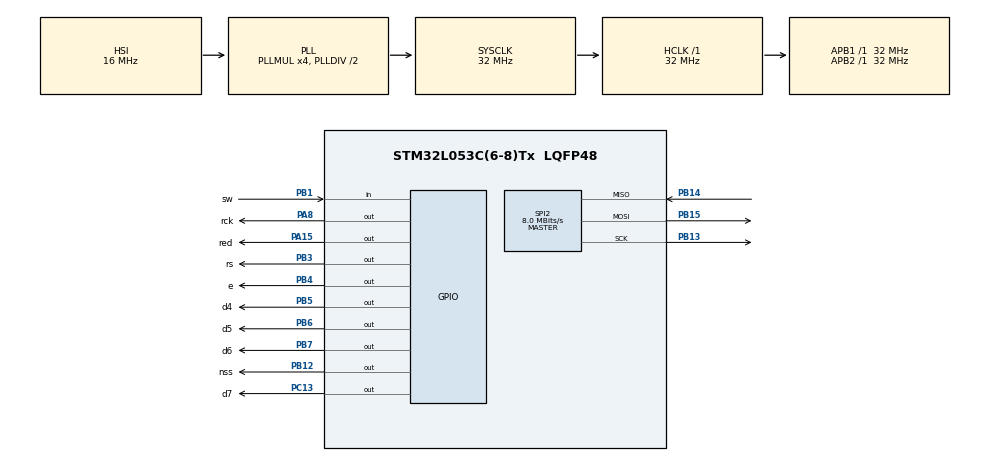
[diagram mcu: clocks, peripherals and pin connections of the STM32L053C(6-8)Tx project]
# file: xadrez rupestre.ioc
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Mcu.Family=STM32L0
Mcu.Name=STM32L053C(6-8)Tx
Mcu.Package=LQFP48
NVIC.TIM6_DAC_IRQn=true\:0\:0\:false\:false\:true\:true\:true\:true
PA13.Mode=Serial_Wire
PA13.Signal=SYS_SWDIO
PA14.Mode=Serial_Wire
PA14.Signal=SYS_SWCLK
PA15.GPIO_Label=red
PA15.GPIO_Speed=GPIO_SPEED_FREQ_VERY_HIGH
PA15.Signal=GPIO_Output
PA8.GPIO_Label=rck
PA8.GPIO_Speed=GPIO_SPEED_FREQ_VERY_HIGH
PA8.Signal=GPIO_Output
PB1.GPIO_Label=sw
PB1.GPIO_PuPd=GPIO_PULLUP
PB1.Signal=GPIO_Input
PB12.GPIO_Label=nss
PB12.GPIO_Speed=GPIO_SPEED_FREQ_VERY_HIGH
PB12.PinState=GPIO_PIN_SET
PB12.Signal=GPIO_Output
PB13.Mode=Full_Duplex_Master
PB13.Signal=SPI2_SCK
PB14.Mode=Full_Duplex_Master
PB14.Signal=SPI2_MISO
PB15.Mode=Full_Duplex_Master
PB15.Signal=SPI2_MOSI
PB3.GPIO_Label=rs
PB3.GPIO_Speed=GPIO_SPEED_FREQ_VERY_HIGH
PB3.Signal=GPIO_Output
PB4.GPIO_Label=e
PB4.GPIO_Speed=GPIO_SPEED_FREQ_VERY_HIGH
PB4.Signal=GPIO_Output
PB5.GPIO_Label=d4
PB5.GPIO_Speed=GPIO_SPEED_FREQ_VERY_HIGH
PB5.Signal=GPIO_Output
PB6.GPIO_Label=d5
PB6.GPIO_Speed=GPIO_SPEED_FREQ_VERY_HIGH
PB6.Signal=GPIO_Output
PB7.GPIO_Label=d6
PB7.GPIO_Speed=GPIO_SPEED_FREQ_VERY_HIGH
PB7.Signal=GPIO_Output
PC13.GPIO_Label=d7
PC13.Signal=GPIO_Output
ProjectManager.HeapSize=0x200
ProjectManager.StackSize=0x400
ProjectManager.TargetToolchain=MDK-ARM V5.32
RCC.AHBFreq_Value=32000000
RCC.APB1Freq_Value=32000000
RCC.APB1TimFreq_Value=32000000
RCC.APB2Freq_Value=32000000
RCC.APB2TimFreq_Value=32000000
RCC.HCLKFreq_Value=32000000
RCC.HSE_VALUE=8000000
RCC.HSI16_VALUE=16000000
RCC.HSI48_VALUE=48000000
RCC.HSI_VALUE=16000000
RCC.LSE_VALUE=32768
RCC.MSI_VALUE=2097000
RCC.PLLMUL=RCC_PLLMUL_4
RCC.SYSCLKFreq_VALUE=32000000
RCC.SYSCLKSource=RCC_SYSCLKSOURCE_PLLCLK
RCC.VCOOutputFreq_Value=64000000
SPI2.BaudRatePrescaler=SPI_BAUDRATEPRESCALER_4
SPI2.CalculateBaudRate=8.0 MBits/s
SPI2.Direction=SPI_DIRECTION_2LINES
SPI2.FirstBit=SPI_FIRSTBIT_MSB
SPI2.Mode=SPI_MODE_MASTER
SPI2.VirtualType=VM_MASTER
TIM2.Period=0xffff-1
TIM2.Prescaler=31
TIM6.Period=999
TIM6.Prescaler=31
VP_TIM2_VS_ClockSourceINT.Mode=Internal
VP_TIM6_VS_ClockSourceINT.Mode=Enable_Timer
board=custom

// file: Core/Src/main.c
/* USER CODE BEGIN Header */
/**
  ******************************************************************************
  * @file           : main.c
  * @brief          : Main program body
  ******************************************************************************
  * @attention
  *
  * Copyright (c) 2023 STMicroelectronics.
  * All rights reserved.
  *
  * This software is licensed under terms that can be found in the LICENSE file
  * in the root directory of this software component.
  * If no LICENSE file comes with this software, it is provided AS-IS.
  *
  ******************************************************************************
  */
/* USER CODE END Header */
#include "main.h"
#include "spi.h"
#include "tim.h"
#include "gpio.h"

/* USER CODE BEGIN Includes */

#include "stdlib.h"
#include "stdio.h"
#include "String.h"

#define write(x, y) HAL_GPIO_WritePin(x##_GPIO_Port, x##_Pin, y)
#define read(x) HAL_GPIO_ReadPin(x##_GPIO_Port, x##_Pin)

#define NULL 0

//TELAS

uint8_t set, task, dbc;

uint8_t buff[32];

//geral e display

void delay_us (uint16_t us) {
	TIM2->CNT = 0;  // set the counter value a 0
	while (TIM2->CNT < us);  // wait for the counter to reach the us input in the parameter
}

void lcd_write(uint8_t data, uint8_t cmd) {

	write(rs, cmd);

	write(d7, data & 0x80);
	write(d6, data & 0x40);
	write(d5, data & 0x20);
	write(d4, data & 0x10);

	write(e, 1);
	delay_us(250);
	write(e, 0);

	write(d7, data & 0x8);
	write(d6, data & 0x4);
	write(d5, data & 0x2);
	write(d4, data & 0x1);

	write(e, 1);
	delay_us(250);
	write(e, 0);
}

void lcd_init() {

	lcd_write(0x33, 0);
	HAL_Delay(20);
	lcd_write(0x32, 0);
	HAL_Delay(20);
	lcd_write(0x28, 0);
	HAL_Delay(20);
	lcd_write(0x06, 0);
	HAL_Delay(20);
	lcd_write(0x0F, 0);
	HAL_Delay(20);
	lcd_write(0x01, 0);
	HAL_Delay(20);

}

void lcd_writestr(uint8_t *str) {

	while(*str) lcd_write(*str++, 1);

}

// codigos
// 1 peao em desacordo com tabuleiro na funcao mover

void err(uint8_t cod) {

	uint8_t buff[32];

	sprintf(buff, "CODIGO DE ERRO %d", cod);

	lcd_writestr(buff);

}

struct {
	uint16_t ch1, ch2;
} mcp;

void readmcp() {

	uint8_t mosibuff[3], misobuff[3];

	memset(misobuff, 0, 3);

	mosibuff[0] = 0x01;
	mosibuff[1] = 0xA0;
	write(nss, 0);
	HAL_SPI_TransmitReceive(&hspi2, mosibuff, misobuff, 3, 1000);
	write(nss, 1);
	mcp.ch1 = ((misobuff[1] & 0x0F) << 8) | misobuff[2];

	mosibuff[0] = 0x01;
	mosibuff[1] = 0xE0;

	memset(misobuff, 0, 3);

	write(nss, 0);
	HAL_SPI_TransmitReceive(&hspi2, mosibuff, misobuff, 3, 1000);
	write(nss, 1);
	mcp.ch2 = ((misobuff[1] & 0x0F) << 8) | misobuff[2];

}

//matriz

uint8_t red;
uint8_t green;

uint8_t spi[6];

#define col spi[3]
#define vm spi[5]
#define vd spi[4]

//tabuleiro

typedef struct {

	uint8_t x, y, type, id, team, on, first;

} pc;

pc *team1[12], *team2[12];
pc *alive1[12], *alive2[12];

pc *tabuleiro[12][12];

pc nula;

uint16_t tim = 0;
pc *blink;

pc intent;

void start_game() {

	blink = NULL;
	intent = nula;

	for(uint8_t i = 0; i < 8; i++) {
		free(team1[i]);
		free(team2[i]);
	}

	memset(tabuleiro, 0, sizeof(&nula)*12*12);

	for(uint8_t i = 0; i < 8; i++) {

		team1[i] = tabuleiro[0][i] = (pc *)malloc(sizeof(pc));
		(*team1[i]).team = 2;
		(*team1[i]).id = i;
		(*team1[i]).x = i;
		(*team1[i]).y = 0;
		(*team1[i]).type = 0;
		(*team1[i]).on = 1;
		(*team1[i]).first = 1;

		team2[i] = tabuleiro[7][i] = (pc *)malloc(sizeof(pc));
		(*team2[i]).team = 1;
		(*team2[i]).id = i;
		(*team2[i]).x = i;
		(*team2[i]).y = 7;
		(*team2[i]).type = 0;
		(*team2[i]).on = 1;
		(*team2[i]).first = 1;
	}

}

void end_game() {

	for(uint8_t i = 0; i < 8; i++) {
		for(uint8_t j = 0; j < 8; j++) free(tabuleiro[i][j]);
	};

	set = 0;

}

void move(pc *peao, uint8_t x, uint8_t y) {

	if(tabuleiro[(*peao).y][(*peao).x] != peao) err(1);

	if(tabuleiro[y][x] != peao) (*tabuleiro[y][x]).on = 0;
	tabuleiro[(*peao).y][(*peao).x] = NULL;

	tabuleiro[y][x] = peao;

	(*peao).x = x;
	(*peao).y = y;

}

//MENU

void set0() {

	memset(alive1, 0, sizeof(&nula)*12);
	memset(alive2, 0, sizeof(&nula)*12);

	task = 0;
	set = 0xFF;
	lcd_write(0x01, 0);

}

void task0() {

	lcd_write(0x80, 0);
	lcd_writestr("  XADREZ  RUPESTRE  ");

	lcd_write(0x94, 0);
	lcd_writestr("PRESSIONE O JOYSTICK");

	lcd_write(0xD4, 0);
	lcd_writestr("PARA COMECAR O JOGO!");

	if(!read(sw) && dbc) {
		set = 1;
	}
	if(read(sw)) dbc = 1;

}

//task1

uint8_t turno, sel, opt, step, mov;
uint8_t count1, count2, lim;
void set1() {

	turno = sel = opt = step = dbc = mov = count1 = count2 = lim = 0;

	task = 1;
	set = 0xFF;
	start_game();

}

int task1() {

	count1 = 0;
	count2 = 0;

	for(uint8_t i = 0; i < 8; i++) {

		if((*team1[i]).on)  {

			alive1[count1] = team1[i];
			count1++;

		}

		if((*team2[i]).on)  {

			alive2[count2] = team2[i];
			count2++;

		}
	}

	if(!count1) {
		lcd_write(0x80, 0);
		lcd_writestr("   FIM DE JOGO!    ");
		lcd_write(0xC0, 0);
		lcd_writestr("  VITORIA DO TIME  ");
		lcd_write(0x94, 0);
		lcd_writestr("      VERDE!       ");
		lcd_write(0xD4, 0);
		lcd_writestr("   PRIMA O BOTAO   ");
		HAL_Delay(1000);
		while(read(sw));
		set0();
		return 0;
	}

	if(!count2) {
		lcd_write(0x80, 0);
		lcd_writestr("   FIM DE JOGO!    ");
		lcd_write(0xC0, 0);
		lcd_writestr("  VITORIA DO TIME  ");
		lcd_write(0x94, 0);
		lcd_writestr("      VERM.!       ");
		lcd_write(0xD4, 0);
		lcd_writestr("   PRIMA O BOTAO   ");
		HAL_Delay(1000);
		while(read(sw));
		set0();
		return 0;

	}

	lcd_write(0x94, 0);
	lcd_writestr("TURNO DO TIME ");

	if(turno) {

		lim = count1-1;

		lcd_writestr("VERM. ");
		blink = alive1[sel];

	} else {

		lim = count2-1;

		lcd_writestr("VERDE ");
		blink = alive2[sel];
	}

	switch(step) {

		case 0:

				lcd_write(0xD4, 0);
				sprintf(buff, "Selec. peao no. %d   ", (*blink).id);
				lcd_writestr(buff);

			if(mcp.ch1 > 3900 && dbc) {

				if(sel < lim) sel++;
				else sel = 0;

			}

			if(mcp.ch1 < 100 && dbc) {

				if(sel > 0) sel--;
				else sel = lim;

			}

			if(!read(sw) && dbc) {
				uint8_t can = 3;
				if((*blink).type == 0) {
					if(!turno) {
						if((*blink).x == 0 || (*tabuleiro[(*blink).y-1][(*blink).x-1]).team != 2) can--;
						if((*blink).y == 0 || tabuleiro[(*blink).y-1][(*blink).x]) can--;
						if((*blink).x == 7 || (*tabuleiro[(*blink).y-1][(*blink).x+1]).team != 2) can--;

					}

					if(turno) {
						if((*blink).x == 0 || (*tabuleiro[(*blink).y+1][(*blink).x-1]).team != 1) can--;
						if((*blink).y == 7 || tabuleiro[(*blink).y+1][(*blink).x]) can--;
						if((*blink).x == 7 || (*tabuleiro[(*blink).y+1][(*blink).x+1]).team != 1) can--;

					}

					if(can) {
						step = 1;
						intent.x = (*blink).x;
						intent.y = (*blink).y;
						if(turno) {
							if(intent.y < 7 && tabuleiro[intent.y+1][intent.x] == NULL) intent.y++;
							else {

								if((*blink).x < 7 && (*blink).y < 7) {

									if((*tabuleiro[(*blink).y+1][(*blink).x+1]).team == 1) {

										intent.y = (*blink).y+1;
										intent.x = (*blink).x+1;

									}

								}

								if((*blink).x > 0 && (*blink).y < 7) {

									if((*tabuleiro[(*blink).y+1][(*blink).x-1]).team == 1) {

										intent.y = (*blink).y+1;
										intent.x = (*blink).x-1;

									}

								}

							}
						}
						if(!turno) {
							if(intent.y > 0 && tabuleiro[intent.y-1][intent.x] == NULL) intent.y--;
							else {

								if((*blink).x < 7 && (*blink).y > 0) {

									if((*tabuleiro[(*blink).y-1][(*blink).x+1]).team == 2) {

										intent.y = (*blink).y-1;
										intent.x = (*blink).x+1;

									}

								}

								if(!turno) {

								if((*blink).x > 0 && (*blink).y > 0) {

									if((*tabuleiro[(*blink).y-1][(*blink).x-1]).team == 2) {

										intent.y = (*blink).y-1;
										intent.x = (*blink).x-1;

									}

								}

							}

							}
						}
						intent.type = 1;

					}
			}
		}

			if(mcp.ch1 > 3900 || mcp.ch1 < 100 || !read(sw)) tim = dbc = 0;
			else dbc = 1;

		break;

		case 1:

				lcd_write(0xD4, 0);
				sprintf(buff, "Movendo peao no. %d  ", sel);
				lcd_writestr(buff);
				int8_t limx, limy;

				if((*blink).first) {
					limy = 2;
				} else limy = 1;

				if(mcp.ch2 < 100 && dbc) {
					if((!turno && tabuleiro[(*blink).y-1][(*blink).x] == NULL) || (turno && tabuleiro[(*blink).y+1][(*blink).x]) == NULL) {
					 if(tabuleiro[intent.y][intent.x] != blink)
						if(intent.y < 7 && tabuleiro[intent.y+1][intent.x] == NULL) {
							intent.x = (*blink).x;
						if(turno) if(intent.y >= 0 && intent.y < (*blink).y+limy) intent.y++;
						if(!turno) if(intent.y > 0 && intent.y <= (*blink).y+limy) intent.y++;
					}
				}
			}

				if(mcp.ch2 > 3900 && dbc) {
				 if((!turno && tabuleiro[(*blink).y-1][(*blink).x] == NULL) || (turno && tabuleiro[(*blink).y+1][(*blink).x]) == NULL) {
					if(tabuleiro[intent.y][intent.x] != blink)
						if(intent.y > 0 && tabuleiro[intent.y-1][intent.x] == NULL) {
							intent.x = (*blink).x;
						if(!turno) if(intent.y > (*blink).y-limy && intent.y <= 7) intent.y--;
						if(turno)	 if(intent.y >= (*blink).y-limy && intent.y < 7) intent.y--;
					}
				}

				}

				if(mcp.ch1 > 3900 && dbc) {

					if(turno) {

						if((*blink).x < 7 && (*blink).y < 7) {

							if((*tabuleiro[(*blink).y+1][(*blink).x+1]).team == 1) {

								intent.y = (*blink).y+1;
								intent.x = (*blink).x+1;

							}

						}

					}

					if(!turno) {

						if((*blink).x < 7 && (*blink).y > 0) {

							if((*tabuleiro[(*blink).y-1][(*blink).x+1]).team == 2) {

								intent.y = (*blink).y-1;
								intent.x = (*blink).x+1;

							}

						}

					}

				}

				if(mcp.ch1 < 100 && dbc) {

					if(turno) {

						if((*blink).x > 0 && (*blink).y < 7) {

							if((*tabuleiro[(*blink).y+1][(*blink).x-1]).team == 1) {

								intent.y = (*blink).y+1;
								intent.x = (*blink).x-1;

							}

						}

					}

					if(!turno) {

						if((*blink).x > 0 && (*blink).y > 0) {

							if((*tabuleiro[(*blink).y-1][(*blink).x-1]).team == 2) {

								intent.y = (*blink).y-1;
								intent.x = (*blink).x-1;

							}

						}

					}

				}

				if(!read(sw) && dbc) {
					(*blink).first = 0;
					step = 0;
					turno = !turno;
					dbc = 0;
					sel = 0;
					intent.type = 0;
					move(blink, intent.x, intent.y);
					mov++;
				}

				if(mcp.ch1 > 3900 || mcp.ch1 < 100 || mcp.ch2 > 3900 || mcp.ch2 < 100 || !read(sw)) dbc = 0;
				else dbc = 1;

		break;

		case 2:

		break;

	}

}

/* USER CODE END Includes */

void SystemClock_Config(void);

int main(void)
{

  /* MCU Configuration--------------------------------------------------------*/

  /* Reset of all peripherals, Initializes the Flash interface and the Systick. */
  HAL_Init();

  /* Configure the system clock */
  SystemClock_Config();

  /* Initialize all configured peripherals */
  MX_GPIO_Init();
  MX_SPI2_Init();
  MX_TIM6_Init();
  MX_TIM2_Init();
  /* USER CODE BEGIN 2 */

	HAL_TIM_Base_Start(&htim2);

	lcd_init();

	HAL_TIM_Base_Start_IT(&htim6);

  /* USER CODE END 2 */

  /* Infinite loop */
  /* USER CODE BEGIN WHILE */
  while (1)
  {

		switch(task) {

			case 0:
				task0();
			break;

			case 1:
				task1();
			break;

		}

		switch(set) {

			case 0:
				set0();
			break;

			case 1:
				set1();
			break;

		}

    /* USER CODE END WHILE */

  }
}

void SystemClock_Config(void)
{
  RCC_OscInitTypeDef RCC_OscInitStruct = {0};
  RCC_ClkInitTypeDef RCC_ClkInitStruct = {0};

  /** Configure the main internal regulator output voltage
  */
  __HAL_PWR_VOLTAGESCALING_CONFIG(PWR_REGULATOR_VOLTAGE_SCALE1);

  /** Initializes the RCC Oscillators according to the specified parameters
  * in the RCC_OscInitTypeDef structure.
  */
  RCC_OscInitStruct.OscillatorType = RCC_OSCILLATORTYPE_HSI;
  RCC_OscInitStruct.HSIState = RCC_HSI_ON;
  RCC_OscInitStruct.HSICalibrationValue = RCC_HSICALIBRATION_DEFAULT;
  RCC_OscInitStruct.PLL.PLLState = RCC_PLL_ON;
  RCC_OscInitStruct.PLL.PLLSource = RCC_PLLSOURCE_HSI;
  RCC_OscInitStruct.PLL.PLLMUL = RCC_PLLMUL_4;
  RCC_OscInitStruct.PLL.PLLDIV = RCC_PLLDIV_2;
  if (HAL_RCC_OscConfig(&RCC_OscInitStruct) != HAL_OK)
  {
    Error_Handler();
  }

  /** Initializes the CPU, AHB and APB buses clocks
  */
  RCC_ClkInitStruct.ClockType = RCC_CLOCKTYPE_HCLK|RCC_CLOCKTYPE_SYSCLK
                              |RCC_CLOCKTYPE_PCLK1|RCC_CLOCKTYPE_PCLK2;
  RCC_ClkInitStruct.SYSCLKSource = RCC_SYSCLKSOURCE_PLLCLK;
  RCC_ClkInitStruct.AHBCLKDivider = RCC_SYSCLK_DIV1;
  RCC_ClkInitStruct.APB1CLKDivider = RCC_HCLK_DIV1;
  RCC_ClkInitStruct.APB2CLKDivider = RCC_HCLK_DIV1;

  if (HAL_RCC_ClockConfig(&RCC_ClkInitStruct, FLASH_LATENCY_1) != HAL_OK)
  {
    Error_Handler();
  }
}

/* USER CODE BEGIN 4 */

void HAL_TIM_PeriodElapsedCallback(TIM_HandleTypeDef *htim) {

	if(tim < 500) tim++;
	else tim = 0;

	static uint8_t i = 0;

	if(i < 8) i++;
	else i = 0;
	col = 0x01<<i;

	red = 0;
	green = 0;
	for(uint8_t j = 0; j < 8; j++) {

		if ((i == intent.y && j == intent.x) && intent.type) {
			red |= (0x01<<j);
			green |= (0x01<<j);
		}

		if(tabuleiro[i][j] != NULL) {

			if((*tabuleiro[i][j]).team == 2) {
				if(blink == tabuleiro[i][j]) {
					if(tim > 250) red |= (0x01<<j);
				} else if((*tabuleiro[i][j]).type == 1) {
					if(tim > 70) red |= (0x01<<j);
				} else red |= (0x01<<j);
			}
			else
				if(blink == tabuleiro[i][j]) {
					if(tim > 250) green |= (0x01<<j);
				} else if((*tabuleiro[i][j]).type == 1) {
					if(tim > 70) green |= (0x01<<j);
				}else green |= (0x01<<j);

		}

	}

	vm = ~red;
	vd = ~green;
	HAL_SPI_Transmit(&hspi2, spi, 6, 999);

	write(rck, 1);
	write(rck, 0);

	readmcp();
}

/* USER CODE END 4 */

void Error_Handler(void)
{
  __disable_irq();
  while (1)
  {
  }
}
